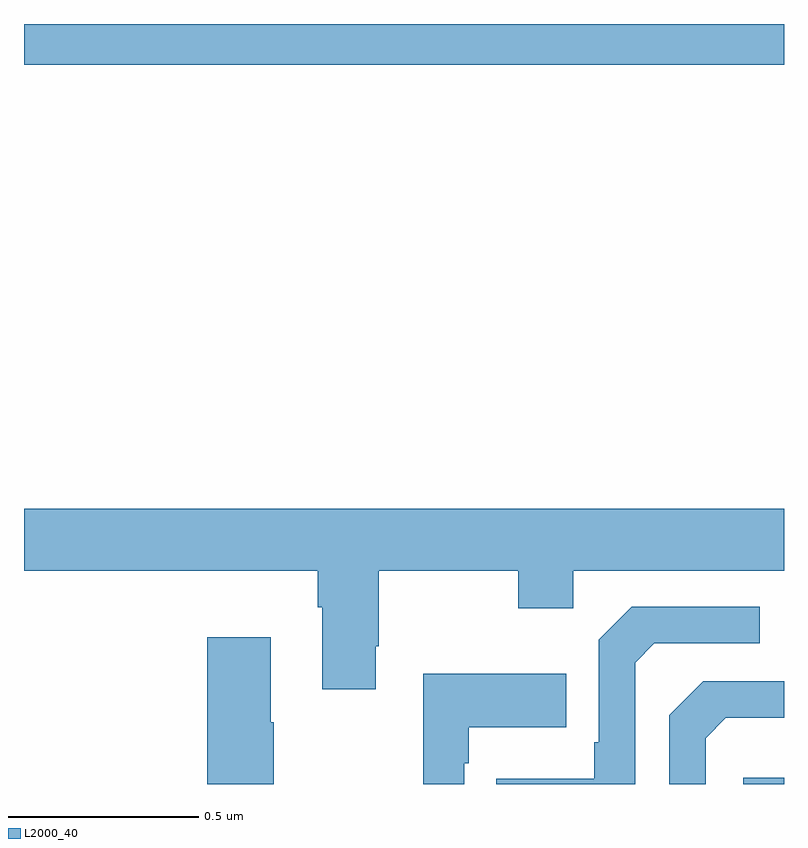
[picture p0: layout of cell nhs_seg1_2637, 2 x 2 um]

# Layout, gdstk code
import gdstk
lib = gdstk.Library(unit=1e-6, precision=1e-09)
def R(c, l, rs):  # rectangles x0, y0, x1, y1
    for r in rs: c.add(gdstk.rectangle(r[:2], r[2:], *l))
def P(c, l, *ps):  # polygons
    for p in ps: c.add(gdstk.Polygon(p, *l))
L2000_40 = (2000, 40)

nhs_seg1_2637 = lib.new_cell('nhs_seg1_2637')
R(nhs_seg1_2637, L2000_40, [(145.893,523.199,146,523.216), (144,525.092,146,525.199)])
P(nhs_seg1_2637, L2000_40, [(144,523.76),(144.773,523.76),(144.773,523.664),(144.785,523.664),(144.785,523.449),(144.925,523.449),(144.925,523.561),(144.933,523.561),(144.933,523.76),(145.3,523.76),(145.3,523.661),(145.446,523.661),(145.446,523.76),(146,523.76),(146,523.924),(144,523.924)],
  [(145.608,523.518),(145.659,523.569),(145.936,523.569),(145.936,523.665),(145.599,523.665),(145.512,523.578),(145.512,523.309),(145.5,523.309),(145.5,523.213),(145.243,523.213),(145.243,523.199),(145.608,523.199)],
  [(144.657,523.361),(144.649,523.361),(144.649,523.585),(144.482,523.585),(144.482,523.199),(144.657,523.199)],
  [(145.158,523.253),(145.171,523.253),(145.171,523.349),(145.427,523.349),(145.427,523.489),(145.05,523.489),(145.05,523.199),(145.158,523.199)],
  [(145.794,523.32),(145.847,523.373),(146,523.373),(146,523.47),(145.788,523.47),(145.698,523.38),(145.698,523.199),(145.794,523.199)])

lib.write_gds('nhs_seg1_2637.gds')
